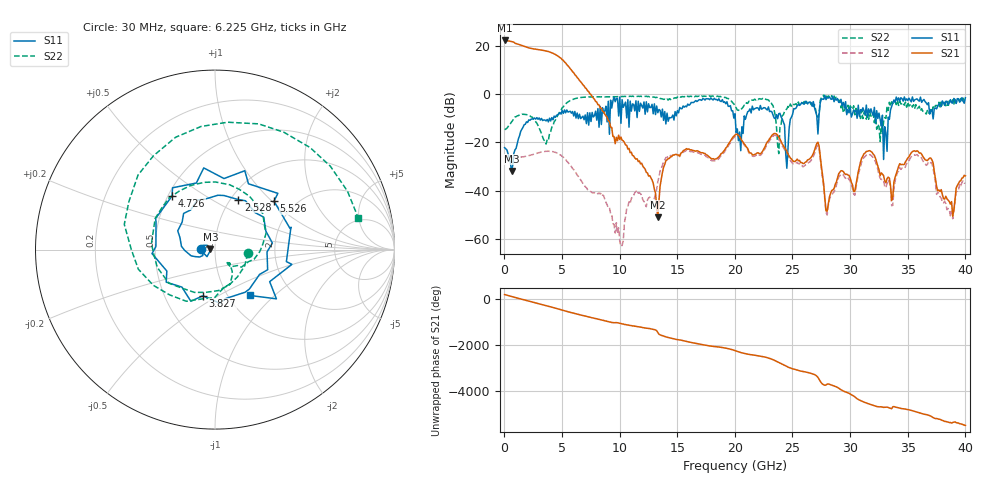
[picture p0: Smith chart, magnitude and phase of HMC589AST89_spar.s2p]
! Analog Devices, Inc.
! Device:	HMC589AST89E
! Description:	DC to 4 GHz, InGaP HBT Gain Block
! Conditions:
!		Vs= 5V, Rbias= 1.8 Ohm, TA = +25deg C
!		Icc = ~84 mA quiescent
!		Pin = -25 dBm
! Product validation unit (SN 5) in package as shown on data sheet's Assembly Diagram,
! Freq(GHz)	S11a(dB)	S11p(deg)	S21a(dB)	S21p(deg)	S12a(dB)	S12p(deg)	S22a(dB)	S22p(deg)
# GHz S DB R 50
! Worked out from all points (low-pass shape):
!   401 points, 30 MHz to 40 GHz, reference 50 ohm
!   highest |S21| = 22.29 dB at 30 MHz (marker M1); lowest = -51.1 dB at 13.32 GHz (marker M2)
!   |S21| within 3 dB of the highest: start of sweep to 2.079 GHz
!   lowest |S11| = -31.8 dB at 629.5 MHz (marker M3), VSWR 1.05, Z = 47.5 + j0.0558 ohm
!   |S11| at or under -10 dB: start of sweep to 2.594 GHz; 3.045 GHz to 3.925 GHz (879.8 MHz wide, 25.2 % of centre); 24.08 GHz to 24.86 GHz (782.7 MHz wide, 3.2 % of centre) (the widest 3 of 36)
!   |S22| runs from -24.7 to -0.3 dB; largest |S21 - S12| = 13
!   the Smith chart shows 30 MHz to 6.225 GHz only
!   S11 on the Smith chart (normalised r, x): 30 MHz: 0.86, +0.01; 2.528 GHz: 1.09, +0.67; 3.827 GHz: 0.77, -0.43; 4.726 GHz: 0.53, +0.37; 5.526 GHz: 1.56, +1.03; 6.225 GHz: 1.25, -0.71
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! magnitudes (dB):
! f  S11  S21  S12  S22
! 30 MHz  -22.2  22.3  -26.0  -14.7
! 629.5 MHz  -31.8  21.8  -26.2  -11.5
! 2.528 GHz  -10.2  18.8  -25.0  -10.3
! 3.827 GHz  -11.5  17.7  -23.6  -19.2
! 4.726 GHz  -8.3  15.6  -24.7  -8.0
! 5.526 GHz  -7.4  11.8  -28.3  -3.2
! 6.225 GHz  -9.9  7.7  -32.7  -1.8
! 6.725 GHz  -9.6  4.6  -36.2  -1.3
! 10.12 GHz  -12.1  -17.8  -63.1  -1.0
! 13.32 GHz  -7.7  -51.1  -36.3  -1.6
! 13.42 GHz  -6.4  -44.1  -34.4  -1.5
! 14.22 GHz  -11.2  -26.7  -25.8  -2.5
! 20.02 GHz  -8.1  -16.9  -17.6  -5.1
! 24.51 GHz  -30.7  -23.7  -24.7  -6.1
! 26.71 GHz  -5.0  -25.6  -26.9  -3.2
! 27.21 GHz  -16.5  -19.9  -21.2  -9.6
! 28.01 GHz  -1.3  -48.6  -50.1  -1.5
! 31.51 GHz  -9.6  -23.7  -25.0  -7.1
! 33.4 GHz  -10.5  -34.9  -36.5  -3.4
! 35.6 GHz  -2.4  -23.5  -25.2  -5.9
! 38.7 GHz  -2.3  -45.6  -50.5  -3.8
! 40 GHz  -1.5  -33.9  -36.9  -2.0
